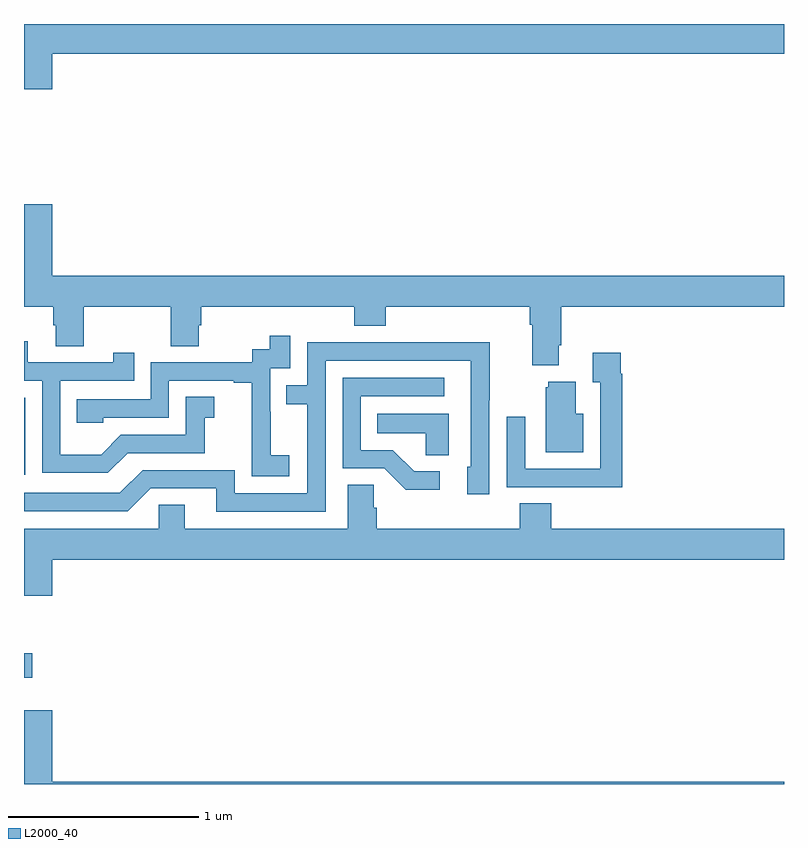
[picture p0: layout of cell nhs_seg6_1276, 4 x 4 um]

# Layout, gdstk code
import gdstk
lib = gdstk.Library(unit=1e-6, precision=1e-09)
def R(c, l, rs):  # rectangles x0, y0, x1, y1
    for r in rs: c.add(gdstk.rectangle(r[:2], r[2:], *l))
def P(c, l, *ps):  # polygons
    for p in ps: c.add(gdstk.Polygon(p, *l))
L2000_40 = (2000, 40)

nhs_seg6_1276 = lib.new_cell('nhs_seg6_1276')
R(nhs_seg6_1276, L2000_40, [(189,936.059,189.043,936.189), (189,937.128,189.006,937.533)])
P(nhs_seg6_1276, L2000_40, [(189.148,939.344),(193,939.344),(193,939.5),(189,939.5),(189,939.156),(189.148,939.156)],
  [(191.815,937.81),(191.828,937.81),(191.828,938.012),(193,938.012),(193,938.176),(189.148,938.176),(189.148,938.551),(189,938.551),(189,938.012),(189.155,938.012),(189.155,937.914),(189.167,937.914),(189.167,937.804),(189.315,937.804),(189.315,938.012),(189.772,938.012),(189.772,937.804),(189.919,937.804),(189.919,937.914),(189.932,937.914),(189.932,938.012),(190.739,938.012),(190.739,937.913),(190.904,937.913),(190.904,938.012),(191.663,938.012),(191.663,937.916),(191.675,937.916),(191.675,937.703),(191.815,937.703)],
  [(190.396,937.231),(190.298,937.231),(190.298,937.46),(190.296,937.46),(190.296,937.689),(190.401,937.689),(190.401,937.858),(190.293,937.858),(190.293,937.788),(190.2,937.788),(190.2,937.719),(189.666,937.719),(189.666,937.524),(189.277,937.524),(189.277,937.401),(189.417,937.401),(189.417,937.428),(189.762,937.428),(189.762,937.623),(190.103,937.623),(190.103,937.611),(190.199,937.611),(190.199,937.327),(190.198,937.327),(190.198,937.121),(190.396,937.121)],
  [(189.547,937.242),(189.951,937.242),(189.951,937.427),(190,937.427),(190,937.537),(189.852,937.537),(189.852,937.338),(189.51,937.338),(189.406,937.234),(189.192,937.234),(189.192,937.623),(189.581,937.623),(189.581,937.771),(189.47,937.771),(189.47,937.719),(189.019,937.719),(189.019,937.831),(189,937.831),(189,937.623),(189.096,937.623),(189.096,937.137),(189.442,937.137)],
  [(190.587,937.728),(191.352,937.728),(191.352,937.17),(191.333,937.17),(191.333,937.026),(191.448,937.026),(191.448,937.519),(191.451,937.519),(191.451,937.826),(190.987,937.826),(190.987,937.824),(190.491,937.824),(190.491,937.599),(190.381,937.599),(190.381,937.498),(190.491,937.498),(190.491,937.029),(190.11,937.029),(190.11,937.152),(189.624,937.152),(189.504,937.032),(189,937.032),(189,936.936),(189.546,936.936),(189.666,937.056),(190.013,937.056),(190.013,936.933),(190.587,936.933)],
  [(192.149,937.658),(192.142,937.658),(192.142,937.771),(191.993,937.771),(191.993,937.615),(192.033,937.615),(192.033,937.158),(191.637,937.158),(191.637,937.432),(191.541,937.432),(191.541,937.062),(191.857,937.062),(191.857,937.061),(192.149,937.061)],
  [(191.188,937.146),(191.053,937.146),(190.942,937.257),(190.773,937.257),(190.773,937.542),(191.212,937.542),(191.212,937.638),(190.677,937.638),(190.677,937.161),(190.896,937.161),(191.009,937.049),(191.188,937.049)],
  [(191.944,937.45),(191.905,937.45),(191.905,937.618),(191.759,937.618),(191.759,937.587),(191.747,937.587),(191.747,937.247),(191.944,937.247)],
  [(191.236,937.45),(190.858,937.45),(190.858,937.346),(191.115,937.346),(191.115,937.231),(191.236,937.231)],
  [(189.148,936.68),(193,936.68),(193,936.844),(191.774,936.844),(191.774,936.977),(191.609,936.977),(191.609,936.844),(190.856,936.844),(190.856,936.953),(190.842,936.953),(190.842,937.076),(190.703,937.076),(190.703,936.844),(189.847,936.844),(189.847,936.971),(189.708,936.971),(189.708,936.844),(189,936.844),(189,936.492),(189.148,936.492)],
  [(193,935.512),(189.148,935.512),(189.148,935.887),(189,935.887),(189,935.5),(193,935.5)])

lib.write_gds('nhs_seg6_1276.gds')
